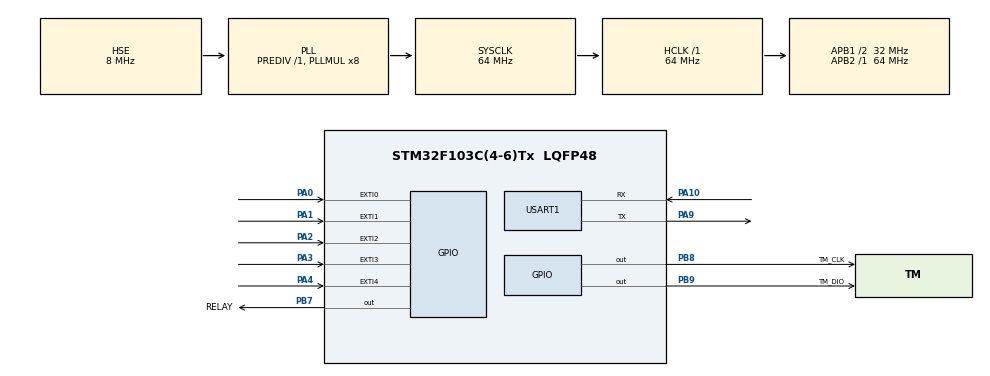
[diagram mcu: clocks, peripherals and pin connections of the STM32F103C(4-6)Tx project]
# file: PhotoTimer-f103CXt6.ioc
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Mcu.Family=STM32F1
Mcu.Name=STM32F103C(4-6)Tx
Mcu.Package=LQFP48
NVIC.EXTI0_IRQn=true\:0\:0\:false\:false\:true\:true\:true\:true
NVIC.EXTI1_IRQn=true\:0\:0\:false\:false\:true\:true\:true\:true
NVIC.EXTI2_IRQn=true\:0\:0\:false\:false\:true\:true\:true\:true
NVIC.EXTI3_IRQn=true\:0\:0\:false\:false\:true\:true\:true\:true
NVIC.EXTI4_IRQn=true\:0\:0\:false\:false\:true\:true\:true\:true
NVIC.PriorityGroup=NVIC_PRIORITYGROUP_4
NVIC.TIM3_IRQn=true\:0\:0\:false\:false\:true\:true\:true\:true
PA0-WKUP.GPIO_ModeDefaultEXTI=GPIO_MODE_IT_FALLING
PA0-WKUP.GPIO_PuPd=GPIO_PULLUP
PA0-WKUP.Signal=GPXTI0
PA1.GPIO_ModeDefaultEXTI=GPIO_MODE_IT_FALLING
PA1.GPIO_PuPd=GPIO_PULLUP
PA1.Signal=GPXTI1
PA10.Mode=Asynchronous
PA10.Signal=USART1_RX
PA13.Mode=Serial_Wire
PA13.Signal=SYS_JTMS-SWDIO
PA14.Mode=Serial_Wire
PA14.Signal=SYS_JTCK-SWCLK
PA2.GPIO_ModeDefaultEXTI=GPIO_MODE_IT_FALLING
PA2.GPIO_PuPd=GPIO_PULLUP
PA2.Signal=GPXTI2
PA3.GPIO_ModeDefaultEXTI=GPIO_MODE_IT_FALLING
PA3.GPIO_PuPd=GPIO_PULLUP
PA3.Signal=GPXTI3
PA4.GPIO_ModeDefaultEXTI=GPIO_MODE_IT_FALLING
PA4.GPIO_PuPd=GPIO_PULLUP
PA4.Signal=GPXTI4
PA9.Mode=Asynchronous
PA9.Signal=USART1_TX
PB7.GPIO_Label=RELAY
PB7.Signal=GPIO_Output
PB8.GPIO_Label=TM_CLK
PB8.Signal=GPIO_Output
PB9.GPIO_Label=TM_DIO
PB9.Signal=GPIO_Output
PD0-OSC_IN.Mode=HSE-External-Oscillator
PD0-OSC_IN.Signal=RCC_OSC_IN
PD1-OSC_OUT.Mode=HSE-External-Oscillator
PD1-OSC_OUT.Signal=RCC_OSC_OUT
ProjectManager.HeapSize=0x200
ProjectManager.StackSize=0x400
ProjectManager.TargetToolchain=STM32CubeIDE
RCC.AHBFreq_Value=64000000
RCC.APB1CLKDivider=RCC_HCLK_DIV2
RCC.APB1Freq_Value=32000000
RCC.APB1TimFreq_Value=64000000
RCC.APB2Freq_Value=64000000
RCC.APB2TimFreq_Value=64000000
RCC.HCLKFreq_Value=64000000
RCC.PLLMUL=RCC_PLL_MUL8
RCC.PLLSourceVirtual=RCC_PLLSOURCE_HSE
RCC.SYSCLKFreq_VALUE=64000000
RCC.SYSCLKSource=RCC_SYSCLKSOURCE_PLLCLK
RCC.USBFreq_Value=64000000
TIM3.Period=1000-1
TIM3.Prescaler=64000-1
USART1.VirtualMode=VM_ASYNC
VP_TIM3_VS_ClockSourceINT.Mode=Internal
board=custom

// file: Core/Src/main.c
/* USER CODE BEGIN Header */
/**
  ******************************************************************************
  * @file           : main.c
  * @brief          : Main program body
  ******************************************************************************
  * @attention
  *
  * Copyright (c) 2022 STMicroelectronics.
  * All rights reserved.
  *
  * This software is licensed under terms that can be found in the LICENSE file
  * in the root directory of this software component.
  * If no LICENSE file comes with this software, it is provided AS-IS.
  *
  ******************************************************************************
  */
/* USER CODE END Header */
#include "main.h"
#include "tim.h"
#include "usart.h"
#include "gpio.h"

/* USER CODE BEGIN Includes */

	#include <stdio.h>
	#include <string.h>
	#include "PhotoTimer_config.h"
	#include "tm1637_sm.h"
	#include "flash_stm32f103_hal_sm.h"

/* USER CODE END Includes */

/* USER CODE BEGIN PD */

	#define	PERIOD_QNT	4

/* USER CODE END PD */

/* USER CODE BEGIN PV */

	volatile	uint32_t  	timer_1sec_flag = 0 ;
	volatile	uint32_t	button[5] = { 0 } ;
				uint32_t 	time_cnt = 0;
				char 		DataChar[0xFF];
				uint32_t 	period[PERIOD_QNT] = { 10, 2, 15, 2} ;

	tm1637_struct htm1637;

/* USER CODE END PV */

void SystemClock_Config(void);
/* USER CODE BEGIN PFP */

	void RelayOn  (void);
	void RelayOff (void);
	void DisplayOff (void);

/* USER CODE END PFP */

int main(void)
{

  /* MCU Configuration--------------------------------------------------------*/

  /* Reset of all peripherals, Initializes the Flash interface and the Systick. */
  HAL_Init();

  /* Configure the system clock */
  SystemClock_Config();

  /* Initialize all configured peripherals */
  MX_GPIO_Init();
  MX_USART1_UART_Init();
  MX_TIM3_Init();
  /* USER CODE BEGIN 2 */

	RelayOff();

	int soft_version_arr_int[3];
	soft_version_arr_int[0] = ((SOFT_VERSION) / 100)     ;
	soft_version_arr_int[1] = ((SOFT_VERSION) /  10) %10 ;
	soft_version_arr_int[2] = ((SOFT_VERSION)      ) %10 ;
	sprintf(DataChar,"\r\n\r\n\tPhotoTimer v%d.%d.%d \r\nUART1 for debug on speed 115200 \r\n",
			soft_version_arr_int[0] ,
			soft_version_arr_int[1] ,
			soft_version_arr_int[2] ) ;
	HAL_UART_Transmit(&huart1, (uint8_t *)DataChar, strlen(DataChar), 100);
	#define 	DATE_as_int_str 	(__DATE__)
	#define 	TIME_as_int_str 	(__TIME__)
	sprintf(DataChar,"Build: %s. Time: %s.\r\n" ,
			DATE_as_int_str ,
			TIME_as_int_str ) ;
	HAL_UART_Transmit( &huart1, (uint8_t *)DataChar , strlen(DataChar) , 100 ) ;

	htm1637.clk_pin	= TM_CLK_Pin ;
	htm1637.clk_port= TM_CLK_GPIO_Port ;
	htm1637.dio_pin = TM_DIO_Pin ;
	htm1637.dio_port= TM_DIO_GPIO_Port ;
	tm1637_Init( &htm1637 );
	tm1637_Set_Brightness( &htm1637, bright_45percent ) ;
	tm1637_Display_Decimal( &htm1637, 8888, double_dot ) ;
	HAL_Delay(500);
	DisplayOff();

	#define CX_FLASH_PAGE_ADDR ((uint32_t)0x08004000)
	 uint32_t flash_word_u32;
	 flash_word_u32 = Flash_Read(CX_FLASH_PAGE_ADDR);
	sprintf(DataChar,"flash_word_u32 = %lX\r\n",  flash_word_u32 );
	HAL_UART_Transmit(&huart1, (uint8_t *)DataChar, strlen(DataChar), 100);
	period[0] = (flash_word_u32>>16) ;
	period[2] = flash_word_u32&0xFFFF ;

	for (int i=0; i < PERIOD_QNT; i++) {
		tm1637_Set_Brightness( &htm1637, bright_45percent ) ;
		tm1637_Display_Decimal( &htm1637, (i+1)*1000 +period[i], no_double_dot ) ;
		sprintf(DataChar,"period[%d] = %lu\r\n", i, period[i] );
		HAL_UART_Transmit(&huart1, (uint8_t *)DataChar, strlen(DataChar), 100);
		HAL_Delay(700);
		DisplayOff();
	}
	DisplayOff();
	HAL_Delay(500);

	HAL_TIM_Base_Start_IT(&htim3);

  /* USER CODE END 2 */

  /* Infinite loop */
  /* USER CODE BEGIN WHILE */
  while (1)
  {
	  for (int p=0; p < PERIOD_QNT; p++) {
		  if ((p==0) || (p==2)) {
			  RelayOn();
		  } else {
			  RelayOff();
		  }

		  time_cnt = 0;
		  do {
			  if (button[0] == 1) {
				  TIM3->CNT = 1;
				  	period[0]++;
					tm1637_Set_Brightness( &htm1637, bright_45percent ) ;
					tm1637_Display_Decimal( &htm1637, 1000 + period[0], no_double_dot ) ;
					HAL_Delay(100);
					button[0] = 0 ;
			  }
			  if (button[1] == 1) {
				  TIM3->CNT = 1;
				  	period[0]--;
					tm1637_Set_Brightness( &htm1637, bright_45percent ) ;
					tm1637_Display_Decimal( &htm1637, 1000 + period[0], no_double_dot ) ;
					HAL_Delay(100);
					button[1] = 0 ;
			  }
			  if (button[2] == 1) {
				  TIM3->CNT = 1;
					period[2]++;
					tm1637_Set_Brightness( &htm1637, bright_45percent ) ;
					tm1637_Display_Decimal( &htm1637, 3000 + period[2], no_double_dot ) ;
					HAL_Delay(100);
					button[2] = 0 ;
			  }
			  if (button[3] == 1) {
				  TIM3->CNT = 1;
					period[2]--;
					tm1637_Set_Brightness( &htm1637, bright_45percent ) ;
					tm1637_Display_Decimal( &htm1637, 3000 + period[2], no_double_dot ) ;
					HAL_Delay(100);
					button[3] = 0 ;
			  }
			  if (button[4] == 1) {
				  TIM3->CNT = 1;
					sprintf(DataChar,"Write to EEPROM \r\n" ) ;
					HAL_UART_Transmit(&huart1, (uint8_t *)DataChar, strlen(DataChar), 100);

					 uint32_t flash_word_u32;
					flash_word_u32 = (period[0]<<16) + period[2] ;
					 HAL_FLASH_Unlock();
					 Flash_Erase_Page(CX_FLASH_PAGE_ADDR);
					 Flash_Write( CX_FLASH_PAGE_ADDR, flash_word_u32);
					 HAL_FLASH_Lock();
						sprintf(DataChar,"flash_word_u32 = %lX\r\n",  flash_word_u32 );
						HAL_UART_Transmit(&huart1, (uint8_t *)DataChar, strlen(DataChar), 100);

					tm1637_Set_Brightness( &htm1637, bright_45percent ) ;
					tm1637_Display_Decimal( &htm1637, 7777, no_double_dot ) ;
					HAL_Delay(200);
					button[4] = 0 ;
			  }

			  if (timer_1sec_flag == 1) {
				sprintf(DataChar,"timer%d = %lu\r\n",  p,  period[p] - time_cnt );
				HAL_UART_Transmit(&huart1, (uint8_t *)DataChar, strlen(DataChar), 100);
				tm1637_Set_Brightness( &htm1637, bright_45percent ) ;
				tm1637_Display_Decimal( &htm1637, (p+1)*1000 + period[p] - time_cnt, no_double_dot ) ;
				time_cnt++;
				timer_1sec_flag = 0;
			  }
		  } while (time_cnt <= period[p]) ;
		  DisplayOff();
	  }

    /* USER CODE END WHILE */

  }
}

void SystemClock_Config(void)
{
  RCC_OscInitTypeDef RCC_OscInitStruct = {0};
  RCC_ClkInitTypeDef RCC_ClkInitStruct = {0};

  /** Initializes the RCC Oscillators according to the specified parameters
  * in the RCC_OscInitTypeDef structure.
  */
  RCC_OscInitStruct.OscillatorType = RCC_OSCILLATORTYPE_HSE;
  RCC_OscInitStruct.HSEState = RCC_HSE_ON;
  RCC_OscInitStruct.HSEPredivValue = RCC_HSE_PREDIV_DIV1;
  RCC_OscInitStruct.HSIState = RCC_HSI_ON;
  RCC_OscInitStruct.PLL.PLLState = RCC_PLL_ON;
  RCC_OscInitStruct.PLL.PLLSource = RCC_PLLSOURCE_HSE;
  RCC_OscInitStruct.PLL.PLLMUL = RCC_PLL_MUL8;
  if (HAL_RCC_OscConfig(&RCC_OscInitStruct) != HAL_OK)
  {
    Error_Handler();
  }

  /** Initializes the CPU, AHB and APB buses clocks
  */
  RCC_ClkInitStruct.ClockType = RCC_CLOCKTYPE_HCLK|RCC_CLOCKTYPE_SYSCLK
                              |RCC_CLOCKTYPE_PCLK1|RCC_CLOCKTYPE_PCLK2;
  RCC_ClkInitStruct.SYSCLKSource = RCC_SYSCLKSOURCE_PLLCLK;
  RCC_ClkInitStruct.AHBCLKDivider = RCC_SYSCLK_DIV1;
  RCC_ClkInitStruct.APB1CLKDivider = RCC_HCLK_DIV2;
  RCC_ClkInitStruct.APB2CLKDivider = RCC_HCLK_DIV1;

  if (HAL_RCC_ClockConfig(&RCC_ClkInitStruct, FLASH_LATENCY_2) != HAL_OK)
  {
    Error_Handler();
  }
}

/* USER CODE BEGIN 4 */

void RelayOn  (void) {
	HAL_GPIO_WritePin(RELAY_GPIO_Port, RELAY_Pin, SET) ;
	sprintf(DataChar,"relay On\r\n" );
	HAL_UART_Transmit(&huart1, (uint8_t *)DataChar, strlen(DataChar), 100);
}

void RelayOff (void) {
	HAL_GPIO_WritePin(RELAY_GPIO_Port, RELAY_Pin, RESET) ;
	sprintf(DataChar,"relay Off\r\n" );
	HAL_UART_Transmit(&huart1, (uint8_t *)DataChar, strlen(DataChar), 100);
}

void DisplayOff (void){
	tm1637_Set_Brightness( &htm1637, bright_off ) ;
	//tm1637_Display_Decimal( &htm1637, 0, no_double_dot ) ;
	HAL_Delay(100);
//	tm1637_Set_Brightness( &htm1637, bright_45percent ) ;
}
/* USER CODE END 4 */

void Error_Handler(void)
{
  __disable_irq();
  while (1)
  {
  }
}
